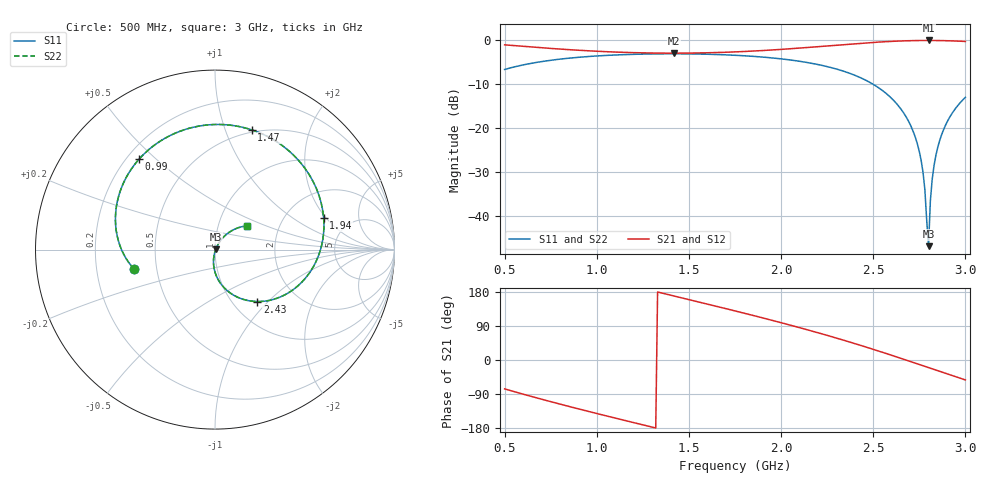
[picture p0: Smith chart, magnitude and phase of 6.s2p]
!freq-unit  param-type  data-format  keyword  impedance-ohms
# GHZ  S  RI  R  50
!Freq  ReS11  ImS11  ReS21  ImS21  ReS12  ImS12  ReS22  ImS22
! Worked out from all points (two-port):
!   251 points, 500 MHz to 3 GHz, reference 50 ohm
!   highest |S21| = -0.07 dB at 2.8 GHz (marker M1); lowest = -3.0 dB at 1.42 GHz (marker M2)
!   |S21| within 3 dB of the highest: start of sweep to end of sweep
!   lowest |S11| = -47.0 dB at 2.8 GHz (marker M3), VSWR 1.01, Z = 50.4 + j0.177 ohm
!   |S11| at or under -10 dB: 2.497 GHz to end of sweep
!   |S22| runs from -47.0 to -3.1 dB; largest |S21 - S12| = 0
!   S11 on the Smith chart (normalised r, x): 500 MHz: 0.37, -0.10; 990 MHz: 0.25, +0.44; 1.47 GHz: 0.48, +1.24; 1.94 GHz: 3.23, +1.88; 2.43 GHz: 1.29, -0.87; 3 GHz: 1.37, +0.38
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0.5  -0.45 -0.1094  0.2102 -0.8582  0.2102 -0.8582  -0.45 -0.1094
0.71  -0.5543 0.1464  -0.2073 -0.7892  -0.2073 -0.7892  -0.5543 0.1464
0.92  -0.4814 0.4251  -0.5042 -0.572  -0.5042 -0.572  -0.4814 0.4251
0.99  -0.4227 0.5044  -0.5735 -0.4813  -0.5735 -0.4813  -0.4227 0.5044
1.34  0.0213 0.6973  -0.7109 0.0216  -0.7109 0.0216  0.0213 0.6973
1.42  0.1351 0.6854  -0.6967 0.1374  -0.6967 0.1374  0.1351 0.6854
1.47  0.2044 0.6672  -0.6795 0.2083  -0.6795 0.2083  0.2044 0.6672
1.75  0.5176 0.4289  -0.468 0.5657  -0.468 0.5657  0.5176 0.4289
1.94  0.6052 0.1761  -0.2138 0.7395  -0.2138 0.7395  0.6052 0.1761
2.17  0.5268 -0.1292  0.201 0.8085  0.201 0.8085  0.5268 -0.1292
2.43  0.2364 -0.2896  0.7166 0.5769  0.7166 0.5769  0.2364 -0.2896
2.59  0.0578 -0.2193  0.9372 0.2342  0.9372 0.2342  0.0578 -0.2193
2.68  0.00206 -0.1317  0.9831 -0.00782  0.9831 -0.00782  0.00206 -0.1317
2.74  -0.00841 -0.0645  0.9738 -0.1761  0.9738 -0.1761  -0.00841 -0.0645
2.77  -0.00499 -0.0308  0.9566 -0.2594  0.9566 -0.2594  -0.00499 -0.0308
2.78  -0.00258 -0.0198  0.949 -0.2868  0.949 -0.2868  -0.00258 -0.0198
2.8  0.00412 0.00176  0.9312 -0.3408  0.9312 -0.3408  0.00412 0.00176
2.81  0.00839 0.0122  0.9209 -0.3673  0.9209 -0.3673  0.00839 0.0122
2.82  0.0133 0.0224  0.9098 -0.3935  0.9098 -0.3935  0.0133 0.0224
2.85  0.0313 0.0511  0.8713 -0.4694  0.8713 -0.4694  0.0313 0.0511
2.91  0.081 0.0978  0.7734 -0.6071  0.7734 -0.6071  0.081 0.0978
3  0.1793 0.1326  0.5857 -0.7682  0.5857 -0.7682  0.1793 0.1326
